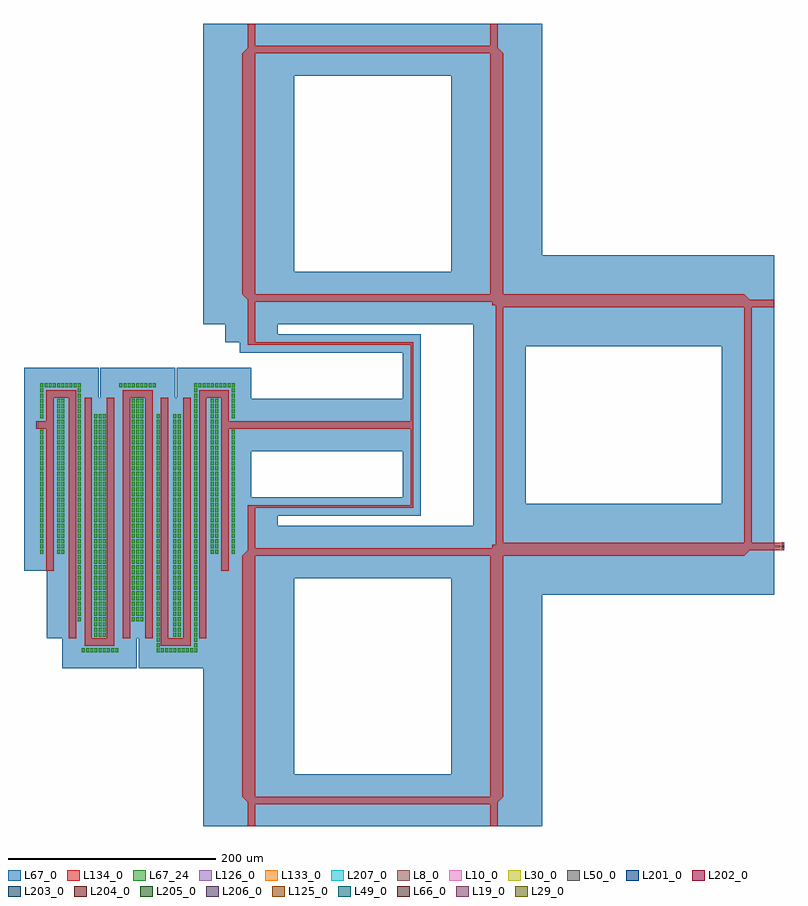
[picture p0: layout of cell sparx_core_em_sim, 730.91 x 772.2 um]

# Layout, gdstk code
from math import pi, radians
import gdstk
lib = gdstk.Library(unit=1e-6, precision=1e-09)
def R(c, l, rs):  # rectangles x0, y0, x1, y1
    for r in rs: c.add(gdstk.rectangle(r[:2], r[2:], *l))
def A(c, l, x, y, w, h, nx, ny, dx, dy):  # array of equal rectangles
    R(c, l, [(x+i*dx, y+j*dy, x+i*dx+w, y+j*dy+h) for i in range(nx) for j in range(ny)])
def P(c, l, *ps):  # polygons
    for p in ps: c.add(gdstk.Polygon(p, *l))
L8_0 = (8, 0)
L10_0 = (10, 0)
L19_0 = (19, 0)
L29_0 = (29, 0)
L30_0 = (30, 0)
L49_0 = (49, 0)
L50_0 = (50, 0)
L66_0 = (66, 0)
L67_0 = (67, 0)
L67_24 = (67, 24)
L125_0 = (125, 0)
L126_0 = (126, 0)
L133_0 = (133, 0)
L134_0 = (134, 0)
L201_0 = (201, 0)
L202_0 = (202, 0)
L203_0 = (203, 0)
L204_0 = (204, 0)
L205_0 = (205, 0)
L206_0 = (206, 0)
L207_0 = (207, 0)

unnamed_3 = lib.new_cell('Unnamed_3')
R(unnamed_3, L67_0, [(0,0,50.4,87.57)])

unnamed_2 = lib.new_cell('Unnamed_2')
P(unnamed_2, L134_0, [(0,0),(0,7.2),(1.89,7.2),(7.2,12.51),(7.2,0)])
unnamed_2.add(gdstk.Reference(unnamed_3, (-21.6,-37.53)))

straight_gdsfactorypcomp = lib.new_cell('straight_gdsfactorypcomponentspwaveguidespstraight_L231_d60834ee')
R(straight_gdsfactorypcomp, L134_0, [(0,-6.255,231.63,6.255)])

c_straight_gdsfactorypcomp = lib.new_cell('straight_gdsfactorypcomponentspwaveguidespstraight_L231_33c51de3')
R(c_straight_gdsfactorypcomp, L67_0, [(0,-43.785,231.63,43.785)])

tline_l231p6300000000000 = lib.new_cell('tline_L231p63000000000002_SCStopmetal2_routing_GCSmetal_f7c65382')
tline_l231p6300000000000.add(gdstk.Reference(straight_gdsfactorypcomp, (0,0)))
tline_l231p6300000000000.add(gdstk.Reference(c_straight_gdsfactorypcomp, (0,0)))

c_straight_gdsfactorypcomp_ = lib.new_cell('straight_gdsfactorypcomponentspwaveguidespstraight_L226_8a13a492')
R(c_straight_gdsfactorypcomp_, L134_0, [(0,-3.6,226.32,3.6)])

c_straight_gdsfactorypcomp__ = lib.new_cell('straight_gdsfactorypcomponentspwaveguidespstraight_L226_b5889b9b')
R(c_straight_gdsfactorypcomp__, L67_0, [(0,-25.2,226.32,25.2)])

tline_l226p3200000000000 = lib.new_cell('tline_L226p32000000000002_SCStopmetal2_routing_GCSmetal_e1966598')
tline_l226p3200000000000.add(gdstk.Reference(c_straight_gdsfactorypcomp_, (0,0)))
tline_l226p3200000000000.add(gdstk.Reference(c_straight_gdsfactorypcomp__, (0,0)))

c_straight_gdsfactorypcomp___ = lib.new_cell('straight_gdsfactorypcomponentspwaveguidespstraight_L0_N_314f84cf')

c_straight_gdsfactorypcomp____ = lib.new_cell('straight_gdsfactorypcomponentspwaveguidespstraight_L0_N_18075a77')

tline_l0_scstopmetal2_ro = lib.new_cell('tline_L0_SCStopmetal2_routing_GCSmetal5_routing_W7p2_ZNone_N2')
tline_l0_scstopmetal2_ro.add(gdstk.Reference(c_straight_gdsfactorypcomp___, (0,0)))
tline_l0_scstopmetal2_ro.add(gdstk.Reference(c_straight_gdsfactorypcomp____, (0,0)))

branch_line_coupler_cl0_ = lib.new_cell('branch_line_coupler_CL0_F160000000000_SCStopmetal2_rout_0bc8d971')
branch_line_coupler_cl0_.add(gdstk.Reference(unnamed_2, (0,0)))
branch_line_coupler_cl0_.add(gdstk.Reference(tline_l231p6300000000000, (7.2,6.255)))
branch_line_coupler_cl0_.add(gdstk.Reference(unnamed_2, (246.03,0), rotation=pi, x_reflection=True))
branch_line_coupler_cl0_.add(gdstk.Reference(tline_l226p3200000000000, (3.6,0), rotation=3*pi/2))
branch_line_coupler_cl0_.add(gdstk.Reference(unnamed_2, (0,-226.32), x_reflection=True))
branch_line_coupler_cl0_.add(gdstk.Reference(tline_l231p6300000000000, (7.2,-232.575)))
branch_line_coupler_cl0_.add(gdstk.Reference(unnamed_2, (246.03,-226.32), rotation=pi))
branch_line_coupler_cl0_.add(gdstk.Reference(tline_l226p3200000000000, (242.43,0), rotation=3*pi/2))
branch_line_coupler_cl0_.add(gdstk.Reference(tline_l0_scstopmetal2_ro, (0,3.6), rotation=pi))
branch_line_coupler_cl0_.add(gdstk.Reference(tline_l0_scstopmetal2_ro, (246.03,3.6)))
branch_line_coupler_cl0_.add(gdstk.Reference(tline_l0_scstopmetal2_ro, (246.03,-229.92)))
branch_line_coupler_cl0_.add(gdstk.Reference(tline_l0_scstopmetal2_ro, (0,-229.92), rotation=pi))

tline_corner_l10_scstopm = lib.new_cell('tline_corner_L10_SCStopmetal2_routing_GCSmetal5_routing_4aa254a8')
R(tline_corner_l10_scstopm, L67_0, [(-10.26,-10.26,13.68,13.68)])
R(tline_corner_l10_scstopm, L134_0, [(0,0,3.42,3.42)])

unnamed_25 = lib.new_cell('Unnamed_25')
R(unnamed_25, L67_0, [(0,0,17.57,50.4)])

unnamed_24 = lib.new_cell('Unnamed_24')
R(unnamed_24, L134_0, [(0,0,2.51,7.2)])
unnamed_24.add(gdstk.Reference(unnamed_25, (-7.53,-21.6)))

c_straight_gdsfactorypcomp_____ = lib.new_cell('straight_gdsfactorypcomponentspwaveguidespstraight_L73p_386bda11')
R(c_straight_gdsfactorypcomp_____, L134_0, [(0,-1.255,73.5,1.255)])

c_straight_gdsfactorypcomp______ = lib.new_cell('straight_gdsfactorypcomponentspwaveguidespstraight_L73p_4a84841f')
R(c_straight_gdsfactorypcomp______, L67_0, [(0,-8.785,73.5,8.785)])

tline_l73p5_scstopmetal2 = lib.new_cell('tline_L73p5_SCStopmetal2_routing_GCSmetal5_routing_W2p5_2fa78952')
tline_l73p5_scstopmetal2.add(gdstk.Reference(c_straight_gdsfactorypcomp_____, (0,0)))
tline_l73p5_scstopmetal2.add(gdstk.Reference(c_straight_gdsfactorypcomp______, (0,0)))

c_tline_corner_l10_scstopm = lib.new_cell('tline_corner_L10_SCStopmetal2_routing_GCSmetal5_routing_bb404b77')
R(c_tline_corner_l10_scstopm, L67_0, [(-7.53,-7.53,10.04,10.04)])
R(c_tline_corner_l10_scstopm, L134_0, [(0,0,2.51,2.51)])

c_straight_gdsfactorypcomp_______ = lib.new_cell('straight_gdsfactorypcomponentspwaveguidespstraight_L154_9ff244ea')
R(c_straight_gdsfactorypcomp_______, L134_0, [(0,-1.255,154.2,1.255)])

c_straight_gdsfactorypcomp________ = lib.new_cell('straight_gdsfactorypcomponentspwaveguidespstraight_L154_5b82e4c5')
R(c_straight_gdsfactorypcomp________, L67_0, [(0,-8.785,154.2,8.785)])

tline_l154p2_scstopmetal = lib.new_cell('tline_L154p2_SCStopmetal2_routing_GCSmetal5_routing_W2p_abe326f4')
tline_l154p2_scstopmetal.add(gdstk.Reference(c_straight_gdsfactorypcomp_______, (0,0)))
tline_l154p2_scstopmetal.add(gdstk.Reference(c_straight_gdsfactorypcomp________, (0,0)))

wilkinson_power_divider_ = lib.new_cell('wilkinson_power_divider_CL0_F160000000000_Z50_SCStopmet_65365093')
wilkinson_power_divider_.add(gdstk.Reference(tline_l0_scstopmetal2_ro, (0,0)))
wilkinson_power_divider_.add(gdstk.Reference(unnamed_24, (0,-3.6)))
wilkinson_power_divider_.add(gdstk.Reference(tline_l73p5_scstopmetal2, (1.255,3.6), rotation=pi/2))
wilkinson_power_divider_.add(gdstk.Reference(c_tline_corner_l10_scstopm, (2.51,79.61), rotation=pi))
wilkinson_power_divider_.add(gdstk.Reference(tline_l73p5_scstopmetal2, (1.255,-3.6), rotation=3*pi/2))
wilkinson_power_divider_.add(gdstk.Reference(c_tline_corner_l10_scstopm, (0,-77.1), rotation=3*pi/2))
wilkinson_power_divider_.add(gdstk.Reference(tline_l154p2_scstopmetal, (2.51,78.355)))
wilkinson_power_divider_.add(gdstk.Reference(tline_l154p2_scstopmetal, (2.51,-78.355)))
wilkinson_power_divider_.add(gdstk.Reference(c_tline_corner_l10_scstopm, (156.71,77.1)))
wilkinson_power_divider_.add(gdstk.Reference(c_tline_corner_l10_scstopm, (159.22,-79.61), rotation=pi/2))
wilkinson_power_divider_.add(gdstk.Reference(tline_l0_scstopmetal2_ro, (155.62,79.61), rotation=pi/2))
wilkinson_power_divider_.add(gdstk.Reference(tline_l0_scstopmetal2_ro, (155.62,-79.61), rotation=3*pi/2))

c_straight_gdsfactorypcomp_________ = lib.new_cell('straight_gdsfactorypcomponentspwaveguidespstraight_L38p_dd7393cf')
R(c_straight_gdsfactorypcomp_________, L134_0, [(0,-3.6,38.86,3.6)])

c_straight_gdsfactorypcomp__________ = lib.new_cell('straight_gdsfactorypcomponentspwaveguidespstraight_L38p_0807b538')
R(c_straight_gdsfactorypcomp__________, L67_0, [(0,-25.2,38.86,25.2)])

tline_l38p86_scstopmetal = lib.new_cell('tline_L38p86_SCStopmetal2_routing_GCSmetal5_routing_WNone_Z50_N2')
tline_l38p86_scstopmetal.add(gdstk.Reference(c_straight_gdsfactorypcomp_________, (0,0)))
tline_l38p86_scstopmetal.add(gdstk.Reference(c_straight_gdsfactorypcomp__________, (0,0)))

c_straight_gdsfactorypcomp___________ = lib.new_cell('straight_gdsfactorypcomponentspwaveguidespstraight_L167_1463a7bd')
R(c_straight_gdsfactorypcomp___________, L134_0, [(0,-3.6,167.18,3.6)])

c_straight_gdsfactorypcomp____________ = lib.new_cell('straight_gdsfactorypcomponentspwaveguidespstraight_L167_86aad5e6')
R(c_straight_gdsfactorypcomp____________, L67_0, [(0,-25.2,167.18,25.2)])

tline_l167p18_scstopmeta = lib.new_cell('tline_L167p18_SCStopmetal2_routing_GCSmetal5_routing_WN_c5e9623a')
tline_l167p18_scstopmeta.add(gdstk.Reference(c_straight_gdsfactorypcomp___________, (0,0)))
tline_l167p18_scstopmeta.add(gdstk.Reference(c_straight_gdsfactorypcomp____________, (0,0)))

c_straight_gdsfactorypcomp_____________ = lib.new_cell('straight_gdsfactorypcomponentspwaveguidespstraight_L10__462e98a7')
R(c_straight_gdsfactorypcomp_____________, L134_0, [(0,-3.6,10,3.6)])

c_straight_gdsfactorypcomp______________ = lib.new_cell('straight_gdsfactorypcomponentspwaveguidespstraight_L10__690d543a')
R(c_straight_gdsfactorypcomp______________, L67_0, [(0,-25.2,10,25.2)])

tline_l10_scstopmetal2_r = lib.new_cell('tline_L10_SCStopmetal2_routing_GCSmetal5_routing_WNone_Z50_N2')
tline_l10_scstopmetal2_r.add(gdstk.Reference(c_straight_gdsfactorypcomp_____________, (0,0)))
tline_l10_scstopmetal2_r.add(gdstk.Reference(c_straight_gdsfactorypcomp______________, (0,0)))

c_straight_gdsfactorypcomp_______________ = lib.new_cell('straight_gdsfactorypcomponentspwaveguidespstraight_L166_27507053')
R(c_straight_gdsfactorypcomp_______________, L134_0, [(0,-3.6,166.83,3.6)])

c_straight_gdsfactorypcomp________________ = lib.new_cell('straight_gdsfactorypcomponentspwaveguidespstraight_L166_8440dd5a')
R(c_straight_gdsfactorypcomp________________, L67_0, [(0,-25.2,166.83,25.2)])

tline_l166p83_scstopmeta = lib.new_cell('tline_L166p83_SCStopmetal2_routing_GCSmetal5_routing_WN_d4e773c3')
tline_l166p83_scstopmeta.add(gdstk.Reference(c_straight_gdsfactorypcomp_______________, (0,0)))
tline_l166p83_scstopmeta.add(gdstk.Reference(c_straight_gdsfactorypcomp________________, (0,0)))

coupler_tline_z55p445032 = lib.new_cell('coupler_tline_Z55p445032974130925_Z45p5367147301159_L23_81a19ac5')
R(coupler_tline_z55p445032, L67_0, [(0,-32.52,231.63,32.52)])
R(coupler_tline_z55p445032, L134_0, [(0,-11.13,231.63,-4), (0,4,231.63,11.13)])

rectangle_gdsfactorypcom = lib.new_cell('rectangle_gdsfactorypcomponentspshapesprectangle_S7p2_7_2a688ad3')
R(rectangle_gdsfactorypcom, L134_0, [(0,0,7.2,7.2)])

unnamed_59 = lib.new_cell('Unnamed_59')
R(unnamed_59, L67_0, [(0,0,50.4,50.4)])

c__corner_rectangle_w7p2_l = lib.new_cell('_corner_rectangle_W7p2_L7p2_SCStopmetal2_routing_GCSmet_6323a6bc')
c__corner_rectangle_w7p2_l.add(gdstk.Reference(rectangle_gdsfactorypcom, (0,0)))
c__corner_rectangle_w7p2_l.add(gdstk.Reference(unnamed_59, (-21.6,-21.6)))

c_straight_gdsfactorypcomp_________________ = lib.new_cell('straight_gdsfactorypcomponentspwaveguidespstraight_L14p_fff0b771')
R(c_straight_gdsfactorypcomp_________________, L134_0, [(0,-3.6,14.33,3.6)])

c_straight_gdsfactorypcomp__________________ = lib.new_cell('straight_gdsfactorypcomponentspwaveguidespstraight_L14p_afb3fce0')
R(c_straight_gdsfactorypcomp__________________, L67_0, [(0,-25.2,14.33,25.2)])

tline_l14p33_scstopmetal = lib.new_cell('tline_L14p33_SCStopmetal2_routing_GCSmetal5_routing_WNone_Z50_N2')
tline_l14p33_scstopmetal.add(gdstk.Reference(c_straight_gdsfactorypcomp_________________, (0,0)))
tline_l14p33_scstopmetal.add(gdstk.Reference(c_straight_gdsfactorypcomp__________________, (0,0)))

c_rectangle_gdsfactorypcom = lib.new_cell('rectangle_gdsfactorypcomponentspshapesprectangle_S7p13__ae953bf7')
R(c_rectangle_gdsfactorypcom, L134_0, [(0,0,7.13,7.2)])

unnamed_66 = lib.new_cell('Unnamed_66')
R(unnamed_66, L67_0, [(0,0,49.91,50.4)])

c__corner_rectangle_w7p2_l_ = lib.new_cell('_corner_rectangle_W7p2_L7p13_SCStopmetal2_routing_GCSme_0a65c955')
c__corner_rectangle_w7p2_l_.add(gdstk.Reference(c_rectangle_gdsfactorypcom, (0,0)))
c__corner_rectangle_w7p2_l_.add(gdstk.Reference(unnamed_66, (-21.39,-21.6)))

coupler_tline_z50p349509 = lib.new_cell('coupler_tline_Z50p349509800930605_Z49p65530934184336_L2_123dc688')
R(coupler_tline_z50p349509, L67_0, [(0,-32.8,231.63,32.8)])
R(coupler_tline_z50p349509, L134_0, [(0,-11.2,231.63,-4), (0,4,231.63,11.2)])

c_straight_gdsfactorypcomp___________________ = lib.new_cell('straight_gdsfactorypcomponentspwaveguidespstraight_L14p_055b01f6')
R(c_straight_gdsfactorypcomp___________________, L134_0, [(0,-3.6,14.4,3.6)])

c_straight_gdsfactorypcomp____________________ = lib.new_cell('straight_gdsfactorypcomponentspwaveguidespstraight_L14p_2750b8ef')
R(c_straight_gdsfactorypcomp____________________, L67_0, [(0,-25.2,14.4,25.2)])

tline_l14p4_scstopmetal2 = lib.new_cell('tline_L14p4_SCStopmetal2_routing_GCSmetal5_routing_WNone_Z50_N2')
tline_l14p4_scstopmetal2.add(gdstk.Reference(c_straight_gdsfactorypcomp___________________, (0,0)))
tline_l14p4_scstopmetal2.add(gdstk.Reference(c_straight_gdsfactorypcomp____________________, (0,0)))

c__slit_ground = lib.new_cell('_slit_ground')
R(c__slit_ground, L67_24, [(1.1,1.1,4,5)])

hairpin_coupled_line_ban = lib.new_cell('hairpin_coupled_line_bandpass_filter_O3_F160000000000_B_36ed47b0')
hairpin_coupled_line_ban.add(gdstk.Reference(tline_l10_scstopmetal2_r, (0,0)))
hairpin_coupled_line_ban.add(gdstk.Reference(tline_l166p83_scstopmeta, (13.6,140.4), rotation=3*pi/2))
hairpin_coupled_line_ban.add(gdstk.Reference(coupler_tline_z55p445032, (42.66,205.2), rotation=3*pi/2))
hairpin_coupled_line_ban.add(gdstk.Reference(c__corner_rectangle_w7p2_l, (10,-33.63)))
hairpin_coupled_line_ban.add(gdstk.Reference(tline_l14p33_scstopmetal, (17.2,-30.03)))
hairpin_coupled_line_ban.add(gdstk.Reference(c__corner_rectangle_w7p2_l_, (31.53,-33.63)))
hairpin_coupled_line_ban.add(gdstk.Reference(coupler_tline_z50p349509, (79.32,205.2), rotation=3*pi/2))
hairpin_coupled_line_ban.add(gdstk.Reference(c__corner_rectangle_w7p2_l_, (46.66,205.2)))
hairpin_coupled_line_ban.add(gdstk.Reference(tline_l14p33_scstopmetal, (53.79,208.8)))
hairpin_coupled_line_ban.add(gdstk.Reference(c__corner_rectangle_w7p2_l, (68.12,205.2)))
hairpin_coupled_line_ban.add(gdstk.Reference(coupler_tline_z50p349509, (116.12,205.2), rotation=3*pi/2))
hairpin_coupled_line_ban.add(gdstk.Reference(c__corner_rectangle_w7p2_l, (83.32,-33.63)))
hairpin_coupled_line_ban.add(gdstk.Reference(tline_l14p4_scstopmetal2, (90.52,-30.03)))
hairpin_coupled_line_ban.add(gdstk.Reference(c__corner_rectangle_w7p2_l, (104.92,-33.63)))
hairpin_coupled_line_ban.add(gdstk.Reference(coupler_tline_z55p445032, (152.78,205.2), rotation=3*pi/2))
hairpin_coupled_line_ban.add(gdstk.Reference(c__corner_rectangle_w7p2_l, (120.12,205.2)))
hairpin_coupled_line_ban.add(gdstk.Reference(tline_l14p33_scstopmetal, (127.32,208.8)))
hairpin_coupled_line_ban.add(gdstk.Reference(c__corner_rectangle_w7p2_l_, (141.65,205.2)))
hairpin_coupled_line_ban.add(gdstk.Reference(c__corner_rectangle_w7p2_l_, (156.78,-33.63)))
hairpin_coupled_line_ban.add(gdstk.Reference(tline_l14p33_scstopmetal, (163.91,-30.03)))
hairpin_coupled_line_ban.add(gdstk.Reference(c__corner_rectangle_w7p2_l, (178.24,-33.63)))
hairpin_coupled_line_ban.add(gdstk.Reference(tline_l166p83_scstopmeta, (181.84,140.4), rotation=3*pi/2, x_reflection=True))
hairpin_coupled_line_ban.add(gdstk.Reference(tline_l10_scstopmetal2_r, (185.44,0)))
r = gdstk.Reference(c__slit_ground, (3.3,3.67)); r.repetition = gdstk.Repetition(1, 24, v1=(0,0), v2=(0,5)); hairpin_coupled_line_ban.add(r)
r = gdstk.Reference(c__slit_ground, (187.3,3.67)); r.repetition = gdstk.Repetition(1, 24, v1=(0,0), v2=(0,5)); hairpin_coupled_line_ban.add(r)
r = gdstk.Reference(c__slit_ground, (19.3,-26.33)); r.repetition = gdstk.Repetition(2, 30, v1=(4,0), v2=(0,5)); hairpin_coupled_line_ban.add(r)
r = gdstk.Reference(c__slit_ground, (91.3,-26.33)); r.repetition = gdstk.Repetition(3, 43, v1=(4,0), v2=(0,5)); hairpin_coupled_line_ban.add(r)
r = gdstk.Reference(c__slit_ground, (167.3,-26.33)); r.repetition = gdstk.Repetition(2, 30, v1=(4,0), v2=(0,5)); hairpin_coupled_line_ban.add(r)
r = gdstk.Reference(c__slit_ground, (55.3,-11.33)); r.repetition = gdstk.Repetition(2, 43, v1=(4,0), v2=(0,5)); hairpin_coupled_line_ban.add(r)
r = gdstk.Reference(c__slit_ground, (127.3,-11.33)); r.repetition = gdstk.Repetition(3, 43, v1=(4,0), v2=(0,5)); hairpin_coupled_line_ban.add(r)
r = gdstk.Reference(c__slit_ground, (3.3,-41.33)); r.repetition = gdstk.Repetition(1, 7, v1=(0,0), v2=(0,5)); hairpin_coupled_line_ban.add(r)
r = gdstk.Reference(c__slit_ground, (7.3,-41.33)); r.repetition = gdstk.Repetition(9, 1, v1=(4,0), v2=(0,0)); hairpin_coupled_line_ban.add(r)
r = gdstk.Reference(c__slit_ground, (39.3,-36.33)); r.repetition = gdstk.Repetition(1, 51, v1=(0,0), v2=(0,5)); hairpin_coupled_line_ban.add(r)
r = gdstk.Reference(c__slit_ground, (43.3,213.67)); r.repetition = gdstk.Repetition(9, 1, v1=(4,0), v2=(0,0)); hairpin_coupled_line_ban.add(r)
r = gdstk.Reference(c__slit_ground, (75.3,-11.33)); r.repetition = gdstk.Repetition(1, 45, v1=(0,0), v2=(0,5)); hairpin_coupled_line_ban.add(r)
r = gdstk.Reference(c__slit_ground, (79.3,-41.33)); r.repetition = gdstk.Repetition(9, 1, v1=(4,0), v2=(0,0)); hairpin_coupled_line_ban.add(r)
r = gdstk.Reference(c__slit_ground, (115.3,213.67)); r.repetition = gdstk.Repetition(9, 1, v1=(4,0), v2=(0,0)); hairpin_coupled_line_ban.add(r)
r = gdstk.Reference(c__slit_ground, (151.3,-41.33)); r.repetition = gdstk.Repetition(1, 46, v1=(0,0), v2=(0,5)); hairpin_coupled_line_ban.add(r)
r = gdstk.Reference(c__slit_ground, (155.3,-41.33)); r.repetition = gdstk.Repetition(9, 1, v1=(4,0), v2=(0,0)); hairpin_coupled_line_ban.add(r)
r = gdstk.Reference(c__slit_ground, (187.3,-36.33)); r.repetition = gdstk.Repetition(1, 6, v1=(0,0), v2=(0,5)); hairpin_coupled_line_ban.add(r)

straight_l30_cstopmetal2 = lib.new_cell('straight_L30_CStopmetal2_routing_W7p2_N2')
R(straight_l30_cstopmetal2, L134_0, [(0,-3.6,30,3.6)])

via_stack_blmetal1_tltop = lib.new_cell('via_stack_BLMetal1_TLTopMetal2_VC2_VR2_VC2_VR2_VC1_VR4')
R(via_stack_blmetal1_tltop, L8_0, [(-0.35,-0.31,0.35,0.31)])
R(via_stack_blmetal1_tltop, L10_0, [(-0.35,-0.305,0.35,0.305)])
R(via_stack_blmetal1_tltop, L19_0, [(-0.3,-0.3,-0.11,-0.11), (0.11,-0.3,0.3,-0.11), (-0.3,0.11,-0.11,0.3), (0.11,0.11,0.3,0.3)])
R(via_stack_blmetal1_tltop, L29_0, [(-0.3,-0.3,-0.11,-0.11), (0.11,-0.3,0.3,-0.11), (-0.3,0.11,-0.11,0.3), (0.11,0.11,0.3,0.3)])
R(via_stack_blmetal1_tltop, L30_0, [(-0.35,-0.305,0.35,0.305)])
R(via_stack_blmetal1_tltop, L49_0, [(-0.3,-0.3,-0.11,-0.11), (0.11,-0.3,0.3,-0.11), (-0.3,0.11,-0.11,0.3), (0.11,0.11,0.3,0.3)])
R(via_stack_blmetal1_tltop, L50_0, [(-0.35,-0.305,0.35,0.305)])
R(via_stack_blmetal1_tltop, L66_0, [(-0.3,-0.3,-0.11,-0.11), (0.11,-0.3,0.3,-0.11), (-0.3,0.11,-0.11,0.3), (0.11,0.11,0.3,0.3)])
R(via_stack_blmetal1_tltop, L67_0, [(-0.73,-0.73,0.73,0.73)])
R(via_stack_blmetal1_tltop, L125_0, [(-0.63,-0.63,-0.21,-0.21), (0.21,-0.63,0.63,-0.21), (-0.63,0.21,-0.21,0.63), (0.21,0.21,0.63,0.63)])
R(via_stack_blmetal1_tltop, L126_0, [(-1.05,-3.89,1.05,3.89)])
A(via_stack_blmetal1_tltop, L133_0, -0.45, -3.39, 0.9, 0.9, 1, 4, 0, 1.96)
R(via_stack_blmetal1_tltop, L134_0, [(-1,-3.89,1,3.89)])

via_stack_blmetal1_tlmet = lib.new_cell('via_stack_BLMetal1_TLMetal5_VC2_VR2_VC1_VR1_VC1_VR1')
R(via_stack_blmetal1_tlmet, L8_0, [(-0.35,-0.31,0.35,0.31)])
R(via_stack_blmetal1_tlmet, L10_0, [(-0.35,-0.305,0.35,0.305)])
R(via_stack_blmetal1_tlmet, L19_0, [(-0.3,-0.3,-0.11,-0.11), (0.11,-0.3,0.3,-0.11), (-0.3,0.11,-0.11,0.3), (0.11,0.11,0.3,0.3)])
R(via_stack_blmetal1_tlmet, L29_0, [(-0.3,-0.3,-0.11,-0.11), (0.11,-0.3,0.3,-0.11), (-0.3,0.11,-0.11,0.3), (0.11,0.11,0.3,0.3)])
R(via_stack_blmetal1_tlmet, L30_0, [(-0.35,-0.305,0.35,0.305)])
R(via_stack_blmetal1_tlmet, L49_0, [(-0.3,-0.3,-0.11,-0.11), (0.11,-0.3,0.3,-0.11), (-0.3,0.11,-0.11,0.3), (0.11,0.11,0.3,0.3)])
R(via_stack_blmetal1_tlmet, L50_0, [(-0.35,-0.305,0.35,0.305)])
R(via_stack_blmetal1_tlmet, L66_0, [(-0.3,-0.3,-0.11,-0.11), (0.11,-0.3,0.3,-0.11), (-0.3,0.11,-0.11,0.3), (0.11,0.11,0.3,0.3)])
R(via_stack_blmetal1_tlmet, L67_0, [(-0.35,-0.305,0.35,0.305)])

straight_l10_csmetal5_ro = lib.new_cell('straight_L10_CSmetal5_routing_W2_N2')
R(straight_l10_csmetal5_ro, L67_0, [(0,-1,10,1)])

straight_l21p6_cstopmeta = lib.new_cell('straight_L21p6_CStopmetal2_routing_W7p2_N2')
R(straight_l21p6_cstopmeta, L134_0, [(0,-3.6,21.6,3.6)])

c_rectangle_gdsfactorypcom_ = lib.new_cell('rectangle_gdsfactorypcomponentspshapesprectangle_S0p1_7_a4c304ac')
R(c_rectangle_gdsfactorypcom_, L201_0, [(0,0,0.1,7.2)])

c_rectangle_gdsfactorypcom__ = lib.new_cell('rectangle_gdsfactorypcomponentspshapesprectangle_S0p1_7_f59edcc8')
R(c_rectangle_gdsfactorypcom__, L202_0, [(0,0,0.1,7.2)])

c_rectangle_gdsfactorypcom___ = lib.new_cell('rectangle_gdsfactorypcomponentspshapesprectangle_S7p2_0_c7448680')
R(c_rectangle_gdsfactorypcom___, L203_0, [(0,0,7.2,0.1)])

c_rectangle_gdsfactorypcom____ = lib.new_cell('rectangle_gdsfactorypcomponentspshapesprectangle_S7p2_0_4a67f0ed')
R(c_rectangle_gdsfactorypcom____, L204_0, [(0,0,7.2,0.1)])

c_rectangle_gdsfactorypcom_____ = lib.new_cell('rectangle_gdsfactorypcomponentspshapesprectangle_S7p2_0_aab2b779')
R(c_rectangle_gdsfactorypcom_____, L205_0, [(0,0,7.2,0.1)])

c_rectangle_gdsfactorypcom______ = lib.new_cell('rectangle_gdsfactorypcomponentspshapesprectangle_S7p2_0_d31bf3f4')
R(c_rectangle_gdsfactorypcom______, L206_0, [(0,0,7.2,0.1)])

c_rectangle_gdsfactorypcom_______ = lib.new_cell('rectangle_gdsfactorypcomponentspshapesprectangle_S2p200_c957fe2b')
R(c_rectangle_gdsfactorypcom_______, L207_0, [(0,0,2.2,0.62)])

sparx_core_em_sim = lib.new_cell('sparx_core_em_sim')
sparx_core_em_sim.add(gdstk.Reference(branch_line_coupler_cl0_, (222.2,504.57), rotation=pi/2))
sparx_core_em_sim.add(gdstk.Reference(branch_line_coupler_cl0_, (448.52,267.63), rotation=3*pi/2))
sparx_core_em_sim.add(gdstk.Reference(branch_line_coupler_cl0_, (453.83,499.26)))
sparx_core_em_sim.add(gdstk.Reference(tline_corner_l10_scstopm, (453.83,504.57), rotation=pi))
sparx_core_em_sim.add(gdstk.Reference(tline_corner_l10_scstopm, (453.83,271.05), rotation=pi))
sparx_core_em_sim.add(gdstk.Reference(wilkinson_power_divider_, (374.22,386.1), rotation=pi))
sparx_core_em_sim.add(gdstk.Reference(tline_l38p86_scstopmetal, (218.6,504.57), rotation=3*pi/2))
sparx_core_em_sim.add(gdstk.Reference(tline_l38p86_scstopmetal, (218.6,267.63), rotation=pi/2))
sparx_core_em_sim.add(gdstk.Reference(tline_l167p18_scstopmeta, (374.22,386.1), rotation=pi))
sparx_core_em_sim.add(gdstk.Reference(hairpin_coupled_line_ban, (207.04,386.1), rotation=pi))
sparx_core_em_sim.add(gdstk.Reference(straight_l30_cstopmetal2, (699.86,269.34)))
sparx_core_em_sim.add(gdstk.Reference(via_stack_blmetal1_tltop, (729.86,269.34)))
sparx_core_em_sim.add(gdstk.Reference(via_stack_blmetal1_tlmet, (726.96,269.34)))
sparx_core_em_sim.add(gdstk.Reference(straight_l10_csmetal5_ro, (726.96,269.34), rotation=pi))
sparx_core_em_sim.add(gdstk.Reference(straight_l21p6_cstopmeta, (218.6,750.6), rotation=pi/2))
sparx_core_em_sim.add(gdstk.Reference(straight_l21p6_cstopmeta, (452.12,750.6), rotation=pi/2))
sparx_core_em_sim.add(gdstk.Reference(straight_l21p6_cstopmeta, (218.6,21.6), rotation=3*pi/2))
sparx_core_em_sim.add(gdstk.Reference(straight_l21p6_cstopmeta, (452.12,21.6), rotation=3*pi/2))
sparx_core_em_sim.add(gdstk.Reference(straight_l21p6_cstopmeta, (699.86,502.86)))
sparx_core_em_sim.add(gdstk.Reference(c_rectangle_gdsfactorypcom_, (11.6,382.5)))
sparx_core_em_sim.add(gdstk.Reference(c_rectangle_gdsfactorypcom__, (721.36,499.26)))
sparx_core_em_sim.add(gdstk.Reference(c_rectangle_gdsfactorypcom___, (215,772.1)))
sparx_core_em_sim.add(gdstk.Reference(c_rectangle_gdsfactorypcom____, (448.52,772.1)))
sparx_core_em_sim.add(gdstk.Reference(c_rectangle_gdsfactorypcom_____, (448.52,0)))
sparx_core_em_sim.add(gdstk.Reference(c_rectangle_gdsfactorypcom______, (215,0)))
sparx_core_em_sim.add(gdstk.Reference(c_rectangle_gdsfactorypcom_______, (727.31,269.03)))

lib.write_gds('sparx_core_em_sim.gds')
